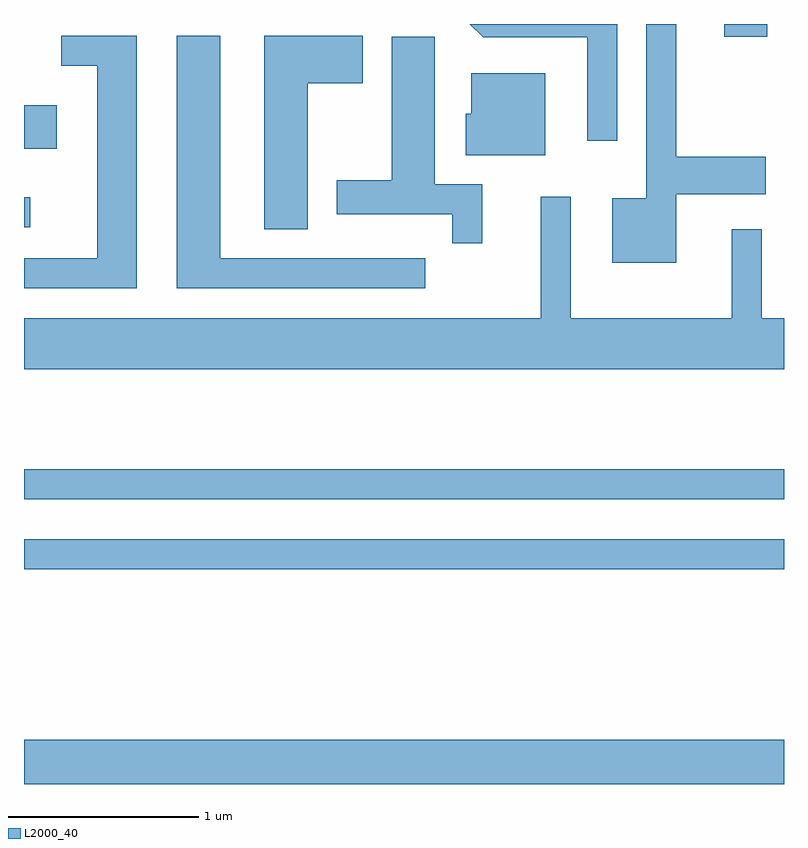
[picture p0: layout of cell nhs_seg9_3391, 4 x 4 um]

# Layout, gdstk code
import gdstk
lib = gdstk.Library(unit=1e-6, precision=1e-09)
def R(c, l, rs):  # rectangles x0, y0, x1, y1
    for r in rs: c.add(gdstk.rectangle(r[:2], r[2:], *l))
def P(c, l, *ps):  # polygons
    for p in ps: c.add(gdstk.Polygon(p, *l))
L2000_40 = (2000, 40)

nhs_seg9_3391 = lib.new_cell('nhs_seg9_3391')
R(nhs_seg9_3391, L2000_40, [(283.611,2078.432,287.611,2078.664), (283.611,2079.561,287.611,2079.719), (283.611,2079.931,287.611,2080.089), (283.611,2081.361,283.643,2081.519), (283.611,2081.776,283.784,2082.004), (287.296,2082.366,287.524,2082.432)])
P(nhs_seg9_3391, L2000_40, [(286.734,2082.432),(285.958,2082.432),(286.029,2082.361),(286.576,2082.361),(286.576,2081.818),(286.734,2081.818)],
  [(287.044,2081.536),(287.514,2081.536),(287.514,2081.734),(287.044,2081.734),(287.044,2082.432),(286.886,2082.432),(286.886,2081.514),(286.706,2081.514),(286.706,2081.176),(287.044,2081.176)],
  [(285.723,2081.199),(284.644,2081.199),(284.644,2082.369),(284.416,2082.369),(284.416,2081.041),(285.723,2081.041)],
  [(284.204,2082.369),(283.808,2082.369),(283.808,2082.211),(283.996,2082.211),(283.996,2081.199),(283.611,2081.199),(283.611,2081.041),(284.204,2081.041)],
  [(285.104,2082.121),(285.394,2082.121),(285.394,2082.369),(284.876,2082.369),(284.876,2081.351),(285.104,2081.351)],
  [(286.024,2081.589),(285.774,2081.589),(285.774,2082.364),(285.546,2082.364),(285.546,2081.609),(285.256,2081.609),(285.256,2081.431),(285.866,2081.431),(285.866,2081.278),(286.024,2081.278)],
  [(286.354,2082.174),(285.966,2082.174),(285.966,2081.959),(285.936,2081.959),(285.936,2081.741),(286.354,2081.741)],
  [(287.611,2080.884),(287.494,2080.884),(287.494,2081.353),(287.336,2081.353),(287.336,2080.884),(286.489,2080.884),(286.489,2081.523),(286.331,2081.523),(286.331,2080.884),(283.611,2080.884),(283.611,2080.616),(287.611,2080.616)])

lib.write_gds('nhs_seg9_3391.gds')
